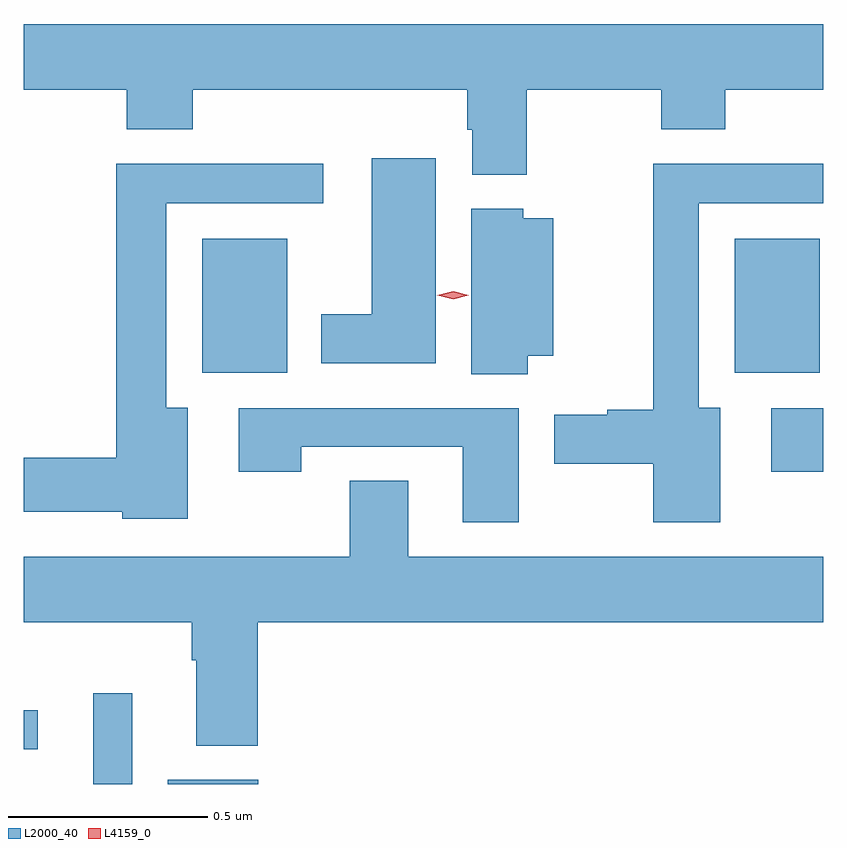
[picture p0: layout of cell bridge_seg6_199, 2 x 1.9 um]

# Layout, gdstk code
import gdstk
lib = gdstk.Library(unit=1e-6, precision=1e-09)
def R(c, l, rs):  # rectangles x0, y0, x1, y1
    for r in rs: c.add(gdstk.rectangle(r[:2], r[2:], *l))
def P(c, l, *ps):  # polygons
    for p in ps: c.add(gdstk.Polygon(p, *l))
L2000_40 = (2000, 40)
L4159_0 = (4159, 0)

bridge_seg6_199 = lib.new_cell('bridge_seg6_199')
R(bridge_seg6_199, L2000_40, [(364.205,994.883,364.302,995.11), (364.391,994.883,364.618,994.894), (364.031,994.97,364.066,995.067), (365.901,995.664,366.031,995.823), (364.478,995.912,364.69,996.247), (365.81,995.912,366.022,996.247)])
P(bridge_seg6_199, L2000_40, [(365.289,996.62),(365.626,996.62),(365.626,996.521),(365.786,996.521),(365.786,996.62),(366.031,996.62),(366.031,996.784),(364.031,996.784),(364.031,996.62),(364.289,996.62),(364.289,996.521),(364.454,996.521),(364.454,996.62),(365.141,996.62),(365.141,996.519),(365.153,996.519),(365.153,996.407),(365.289,996.407)],
  [(365.062,996.448),(364.901,996.448),(364.901,996.058),(364.775,996.058),(364.775,995.936),(365.062,995.936)],
  [(364.441,995.824),(364.387,995.824),(364.387,996.336),(364.78,996.336),(364.78,996.434),(364.262,996.434),(364.262,995.699),(364.031,995.699),(364.031,995.564),(364.278,995.564),(364.278,995.546),(364.441,995.546)],
  [(365.773,995.824),(365.719,995.824),(365.719,996.336),(366.031,996.336),(366.031,996.434),(365.606,996.434),(365.606,995.819),(365.49,995.819),(365.49,995.806),(365.358,995.806),(365.358,995.684),(365.606,995.684),(365.606,995.538),(365.773,995.538)],
  [(365.292,995.954),(365.356,995.954),(365.356,996.298),(365.28,996.298),(365.28,996.322),(365.15,996.322),(365.15,995.908),(365.292,995.908)],
  [(365.269,995.823),(364.569,995.823),(364.569,995.664),(364.725,995.664),(364.725,995.727),(365.129,995.727),(365.129,995.538),(365.269,995.538)],
  [(364.031,995.288),(364.451,995.288),(364.451,995.192),(364.463,995.192),(364.463,994.979),(364.616,994.979),(364.616,995.288),(366.031,995.288),(366.031,995.452),(364.993,995.452),(364.993,995.642),(364.846,995.642),(364.846,995.452),(364.031,995.452)])
P(bridge_seg6_199, L4159_0, [(365.105,996.096),(365.066,996.106),(365.066,996.106),(365.066,996.106),(365.105,996.116),(365.144,996.106),(365.144,996.106),(365.144,996.106)])

lib.write_gds('bridge_seg6_199.gds')
